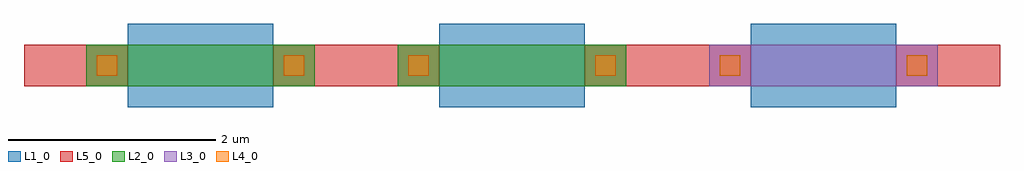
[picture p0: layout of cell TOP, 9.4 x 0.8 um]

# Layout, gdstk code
import gdstk
lib = gdstk.Library(unit=1e-6, precision=1e-09)
def R(c, l, rs):  # rectangles x0, y0, x1, y1
    for r in rs: c.add(gdstk.rectangle(r[:2], r[2:], *l))
def A(c, l, x, y, w, h, nx, ny, dx, dy):  # array of equal rectangles
    R(c, l, [(x+i*dx, y+j*dy, x+i*dx+w, y+j*dy+h) for i in range(nx) for j in range(ny)])
L1_0 = (1, 0)
L2_0 = (2, 0)
L3_0 = (3, 0)
L4_0 = (4, 0)
L5_0 = (5, 0)

top = lib.new_cell('TOP')
A(top, L1_0, 1, -0.4, 1.4, 0.8, 3, 1, 3, 0)
R(top, L2_0, [(0.6,-0.2,2.8,0.2), (3.6,-0.2,5.8,0.2)])
R(top, L3_0, [(6.6,-0.2,8.8,0.2)])
R(top, L4_0, [(0.7,-0.1,0.9,0.1), (2.5,-0.1,2.7,0.1), (3.7,-0.1,3.9,0.1), (5.5,-0.1,5.7,0.1), (6.7,-0.1,6.9,0.1), (8.5,-0.1,8.7,0.1)])
R(top, L5_0, [(0,-0.2,1,0.2), (2.4,-0.2,4,0.2), (5.4,-0.2,7,0.2), (8.4,-0.2,9.4,0.2)])

lib.write_gds('TOP.gds')
